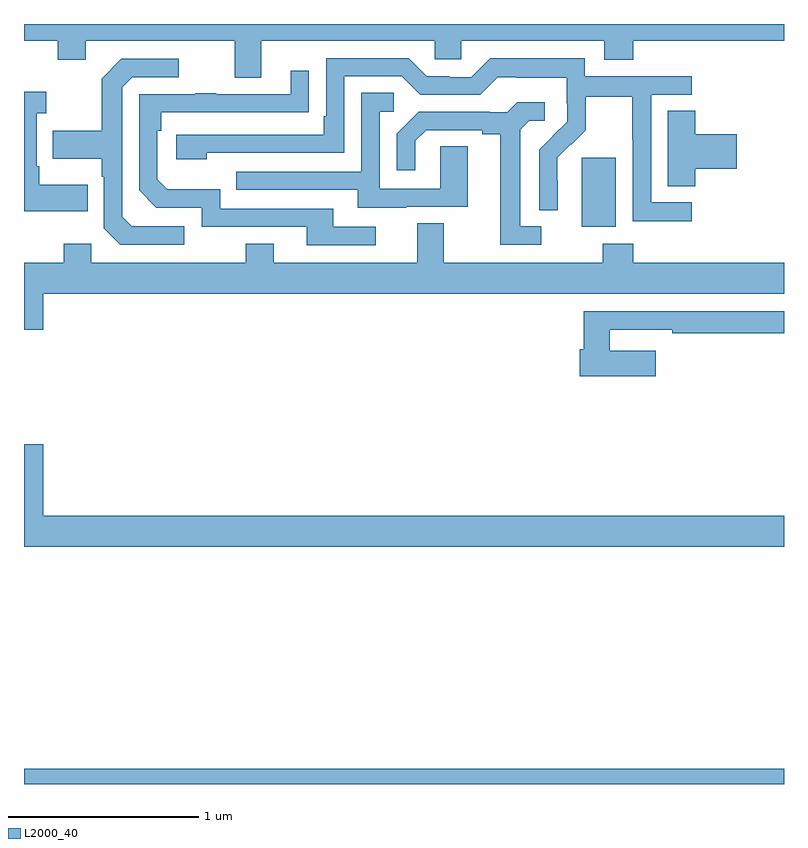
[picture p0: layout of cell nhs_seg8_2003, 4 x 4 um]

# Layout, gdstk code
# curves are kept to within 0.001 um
import gdstk
lib = gdstk.Library(unit=1e-6, precision=1e-09)
def R(c, l, rs):  # rectangles x0, y0, x1, y1
    for r in rs: c.add(gdstk.rectangle(r[:2], r[2:], *l))
def P(c, l, *ps):  # polygons
    for p in ps: c.add(gdstk.Polygon(p, *l))
L2000_40 = (2000, 40)

nhs_seg8_2003 = lib.new_cell('nhs_seg8_2003')
R(nhs_seg8_2003, L2000_40, [(237,1133.9,241,1133.98), (239.936,1136.834,240.115,1137.195)])
P(nhs_seg8_2003, L2000_40, [(238.249,1137.812),(239.163,1137.812),(239.163,1137.714),(239.301,1137.714),(239.301,1137.812),(240.053,1137.812),(240.053,1137.713),(240.206,1137.713),(240.206,1137.812),(241,1137.812),(241,1137.9),(237,1137.9),(237,1137.812),(237.178,1137.812),(237.178,1137.713),(237.325,1137.713),(237.325,1137.812),(238.109,1137.812),(238.109,1137.618),(238.249,1137.618)],
  [(240.514,1136.961),(240.3,1136.961),(240.3,1137.528),(240.514,1137.528),(240.514,1137.624),(239.952,1137.624),(239.952,1137.721),(239.455,1137.721),(239.355,1137.621),(239.24,1137.621),(239.24,1137.624),(239.121,1137.624),(239.025,1137.72),(238.59,1137.72),(238.59,1137.415),(238.577,1137.415),(238.577,1137.318),(237.801,1137.318),(237.801,1137.188),(237.962,1137.188),(237.962,1137.222),(238.686,1137.222),(238.686,1137.624),(238.989,1137.624),(239.085,1137.528),(239.4,1137.528),(239.493,1137.621),(239.593,1137.621),(239.593,1137.617),(239.856,1137.617),(239.856,1137.483),(239.858,1137.483),(239.858,1137.386),(239.712,1137.238),(239.712,1136.92),(239.808,1136.92),(239.807,1137.197),(239.877,1137.267),(239.88,1137.264),(239.957,1137.341),(239.957,1137.516),(240.202,1137.516),(240.202,1137.292),(240.204,1137.292),(240.204,1136.863),(240.514,1136.863)],
  [(237.844,1136.835),(237.567,1136.835),(237.516,1136.886),(237.516,1137.567),(237.57,1137.621),(237.814,1137.621),(237.814,1137.717),(237.513,1137.717),(237.408,1137.611),(237.408,1137.339),(237.151,1137.339),(237.151,1137.191),(237.408,1137.191),(237.408,1137.095),(237.42,1137.095),(237.42,1136.826),(237.507,1136.739),(237.844,1136.739)],
  [(238.852,1136.832),(238.627,1136.832),(238.627,1136.928),(238.032,1136.928),(238.032,1137.031),(237.755,1137.031),(237.702,1137.084),(237.702,1137.338),(237.722,1137.338),(237.722,1137.435),(238.499,1137.436),(238.499,1137.655),(238.403,1137.655),(238.403,1137.531),(238.013,1137.531),(238.013,1137.536),(237.901,1137.536),(237.901,1137.531),(237.606,1137.531),(237.606,1137.024),(237.696,1136.934),(237.936,1136.934),(237.936,1136.832),(238.487,1136.832),(238.487,1136.736),(238.852,1136.736)],
  [(237.335,1137.055),(237.079,1137.055),(237.079,1137.151),(237.066,1137.151),(237.066,1137.431),(237.118,1137.431),(237.118,1137.544),(237,1137.544),(237,1136.915),(237.335,1136.915)],
  [(239.011,1136.937),(239.335,1136.937),(239.335,1137.257),(239.19,1137.257),(239.19,1137.033),(238.872,1137.033),(238.872,1137.438),(238.945,1137.438),(238.945,1137.539),(238.776,1137.539),(238.776,1137.123),(238.117,1137.123),(238.117,1137.027),(238.757,1137.027),(238.757,1136.933),(239.011,1136.933)],
  [(239.722,1136.835),(239.611,1136.835),(239.611,1137.343),(239.658,1137.39),(239.74,1137.39),(239.74,1137.487),(239.596,1137.487),(239.544,1137.435),(239.45,1137.435),(239.45,1137.438),(239.078,1137.438),(238.962,1137.322),(238.962,1137.129),(239.059,1137.129),(239.059,1137.285),(239.116,1137.342),(239.411,1137.342),(239.411,1137.32),(239.507,1137.32),(239.507,1136.739),(239.722,1136.739)],
  [(240.533,1137.137),(240.751,1137.137),(240.751,1137.32),(240.533,1137.32),(240.533,1137.443),(240.389,1137.443),(240.389,1137.046),(240.533,1137.046)],
  [(237.1,1136.48),(241,1136.48),(241,1136.644),(240.206,1136.644),(240.206,1136.743),(240.046,1136.743),(240.046,1136.644),(239.209,1136.644),(239.209,1136.852),(239.069,1136.852),(239.069,1136.644),(238.315,1136.644),(238.315,1136.743),(238.168,1136.743),(238.168,1136.644),(237.354,1136.644),(237.354,1136.743),(237.208,1136.743),(237.208,1136.644),(237,1136.644),(237,1136.292),(237.1,1136.292)],
  [(240.325,1136.179),(240.083,1136.179),(240.083,1136.292),(240.412,1136.292),(240.412,1136.272),(241,1136.272),(241,1136.388),(239.947,1136.388),(239.947,1136.187),(239.924,1136.187),(239.924,1136.045),(240.325,1136.045)],
  [(241,1135.312),(237.1,1135.312),(237.1,1135.687),(237,1135.687),(237,1135.148),(241,1135.148)])

lib.write_gds('nhs_seg8_2003.gds')
